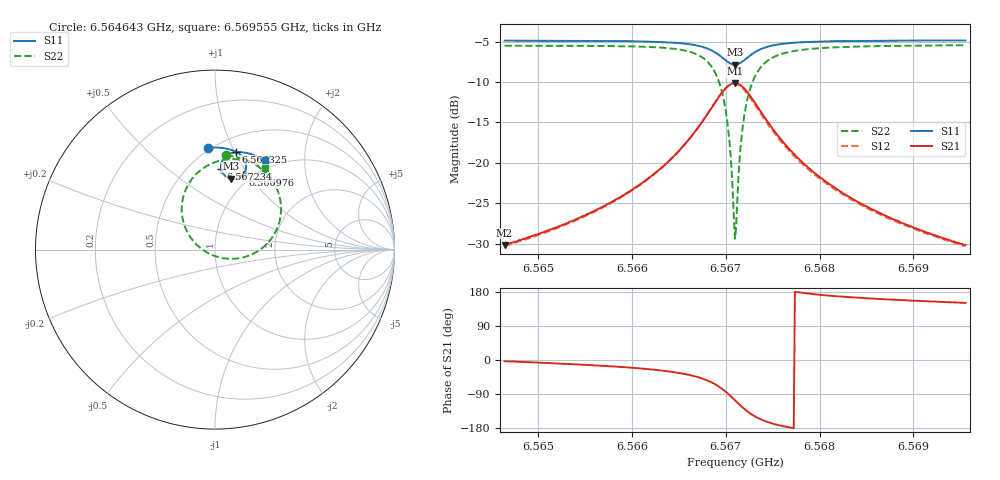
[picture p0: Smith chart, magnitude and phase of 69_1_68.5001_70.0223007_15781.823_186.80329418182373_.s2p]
#  HZ  S  RI  R  50.00
! Rohde & Schwarz Vector Network Analyzer
! Rohde-Schwarz,ZNB20-2Port,1311601062101988,3.16
! Created: UTC 3/20/2024, 4:51:39 PM
! freq[Hz]  re:S11  im:S11  re:S21  im:S21  re:S12  im:S12  re:S22  im:S22
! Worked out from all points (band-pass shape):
!   401 points, 6.564643 GHz to 6.569555 GHz, reference 50 ohm
!   highest |S21| = -10.14 dB at 6.567099 GHz (marker M1); lowest = -30.2 dB at 6.564643 GHz (marker M2)
!   |S21| within 3 dB of the highest: 6.566852 GHz to 6.567344 GHz (491.4 kHz wide, 0.00748 % of centre)
!   lowest |S11| = -7.9 dB at 6.567099 GHz (marker M3), VSWR 2.36, Z = 42.3 + j39.9 ohm
!   |S11| at or under -10 dB: nowhere
!   |S22| runs from -29.4 to -5.4 dB; largest |S21 - S12| = 0.016
!   S11 on the Smith chart (normalised r, x): 6.564643 GHz: 0.48, +0.81; 6.566325 GHz: 0.64, +1.01; 6.566976 GHz: 0.91, +0.93; 6.567234 GHz: 0.71, +0.79; 6.569555 GHz: 0.88, +1.30
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6.5646432e9  -0.0396 0.5681  0.031 -0.00175  0.0305 -0.00225  0.0635 0.5254
6.5654659e9  0.0294 0.5672  0.0455 -0.0101  0.0446 -0.0104  0.1462 0.5081
6.5662886e9  0.1103 0.5482  0.0806 -0.0411  0.0795 -0.0421  0.2675 0.4427
6.5663254e9  0.1147 0.5462  0.0833 -0.0445  0.0821 -0.0454  0.2748 0.4359
6.5665956e9  0.1486 0.5224  0.107 -0.0852  0.1053 -0.0871  0.3365 0.3555
6.5667797e9  0.1702 0.4861  0.1182 -0.1488  0.1152 -0.1524  0.3681 0.2324
6.5668903e9  0.1717 0.449  0.1025 -0.2145  0.0963 -0.2189  0.3419 0.1076
6.5669762e9  0.1536 0.4143  0.0532 -0.2734  0.0426 -0.2768  0.2499 -0.00141
6.5670253e9  0.1315 0.3988  0.00413 -0.2981  -0.00924 -0.2984  0.158 -0.0433
6.5670499e9  0.1177 0.3942  -0.0254 -0.3041  -0.0396 -0.3022  0.1037 -0.0512
6.5670867e9  0.095 0.3933  -0.0725 -0.302  -0.0867 -0.2963  0.0195 -0.0422
6.567099e9  0.0874 0.3945  -0.088 -0.2983  -0.102 -0.2913  -0.00792 -0.033
6.5671236e9  0.0729 0.3997  -0.1175 -0.2862  -0.1302 -0.2768  -0.0585 -0.00752
6.5671481e9  0.06 0.4078  -0.1435 -0.269  -0.1544 -0.2575  -0.1019 0.0268
6.5671727e9  0.0497 0.418  -0.165 -0.2478  -0.1737 -0.2352  -0.136 0.0672
6.5672341e9  0.0351 0.4478  -0.1964 -0.1886  -0.1998 -0.1753  -0.1811 0.1758
6.56732e9  0.037 0.4854  -0.2001 -0.1156  -0.1986 -0.1051  -0.1743 0.3032
6.5674428e9  0.0582 0.5183  -0.1731 -0.0517  -0.1697 -0.0452  -0.1141 0.4108
6.567627e9  0.0929 0.5382  -0.1309 -0.0106  -0.1275 -0.00734  -0.0252 0.4766
6.5679217e9  0.1358 0.5437  -0.0885 0.00917  -0.0863 0.0105  0.0694 0.5027
6.5687443e9  0.2169 0.5263  -0.0431 0.0159  -0.0421 0.0163  0.2022 0.4881
6.5695547e9  0.279 0.4983  -0.027 0.0152  -0.0264 0.0153  0.2788 0.4557
